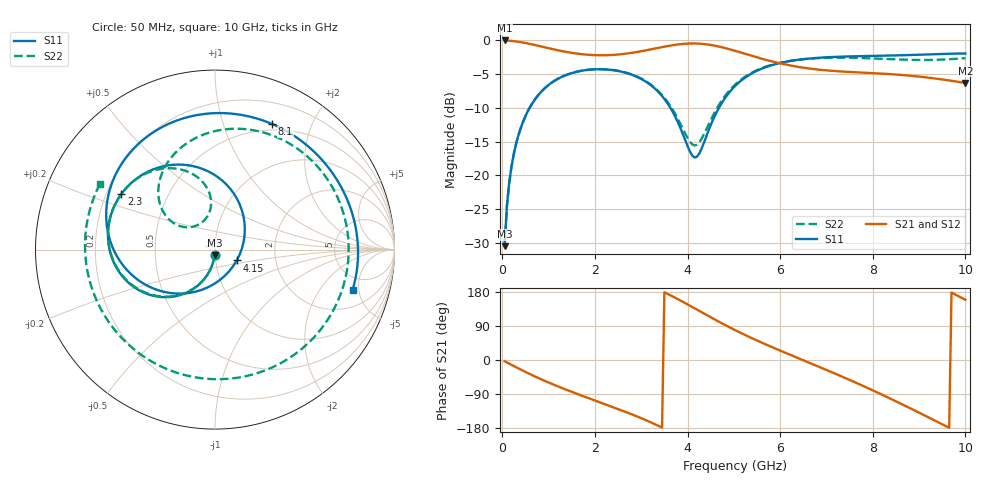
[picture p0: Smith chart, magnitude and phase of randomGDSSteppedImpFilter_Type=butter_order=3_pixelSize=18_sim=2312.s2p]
! freq	dB(S11)	phase(S11)	dB(S12)	phase(S12)
!  dB(S21)	phase(S21)	dB(S22)	phase(S22)
!S-par simulation data
#  GHz  S  DB  R 50
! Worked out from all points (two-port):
!   200 points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, 50 MHz to 10 GHz, reference 50 ohm
!   highest |S21| = -0.01 dB at 50 MHz (marker M1); lowest = -6.3 dB at 10 GHz (marker M2)
!   |S21| within 3 dB of the highest: start of sweep to 5.762 GHz
!   lowest |S11| = -30.5 dB at 50 MHz (marker M3), VSWR 1.06, Z = 49.7 - j2.96 ohm
!   |S11| at or under -10 dB: start of sweep to 590.7 MHz; 3.629 GHz to 4.679 GHz (1.05 GHz wide, 25.3 % of centre)
!   |S22| runs from -30.5 to -2.6 dB; largest |S21 - S12| = 0
!   S11 on the Smith chart (normalised r, x): 50 MHz: 0.99, -0.06; 2.3 GHz: 0.26, +0.26; 4.15 GHz: 1.27, -0.16; 8.1 GHz: 0.43, +1.47; 10 GHz: 3.47, -4.29
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0.05  -30.52 -93.5  -0.01 -3.3  -0.01 -3.3  -30.52 -93.5
0.1  -24.54 -96.9  -0.02 -6.5  -0.02 -6.5  -24.54 -97.0
0.2  -18.65 -103.4  -0.08 -12.9  -0.08 -12.9  -18.65 -103.6
0.5  -11.23 -121.8  -0.38 -31.4  -0.38 -31.4  -11.23 -122.2
1.05  -6.34 -152.2  -1.23 -62.1  -1.23 -62.1  -6.34 -153.0
1.75  -4.46 174.4  -2.07 -95.5  -2.07 -95.5  -4.45 173.7
2.3  -4.34 149.4  -2.18 -120.1  -2.18 -120.1  -4.32 149.8
2.9  -5.38 119.5  -1.73 -148.4  -1.73 -148.4  -5.33 123.8
3.4  -7.87 87.8  -1.06 -175.4  -1.06 -175.4  -7.73 103.1
3.8  -12.26 49.4  -0.60 160.0  -0.60 160.0  -11.75 94.8
4.15  -17.36 -26.4  -0.45 136.6  -0.45 136.6  -15.58 120.0
4.6  -11.04 -120.7  -0.80 106.1  -0.80 106.1  -10.49 147.0
5.05  -6.61 -159.7  -1.59 77.4  -1.59 77.4  -6.41 130.9
5.95  -3.43 150.6  -3.33 27.4  -3.33 27.4  -3.38 83.0
6.7  -2.65 118.8  -4.23 -10.8  -4.23 -10.8  -2.68 39.5
7.4  -2.39 91.9  -4.64 -47.1  -4.64 -47.1  -2.56 -5.6
8.1  -2.28 65.6  -4.89 -85.8  -4.89 -85.8  -2.71 -56.2
8.35  -2.25 56.0  -4.99 -100.2  -4.99 -100.2  -2.78 -75.6
8.8  -2.17 38.2  -5.23 -126.8  -5.23 -126.8  -2.88 -111.9
9.3  -2.06 17.2  -5.61 -157.3  -5.61 -157.3  -2.89 -153.3
9.65  -1.98 1.2  -5.94 -179.0  -5.94 -179.0  -2.79 177.9
10  -1.95 -16.2  -6.32 159.0  -6.32 159.0  -2.63 150.1
